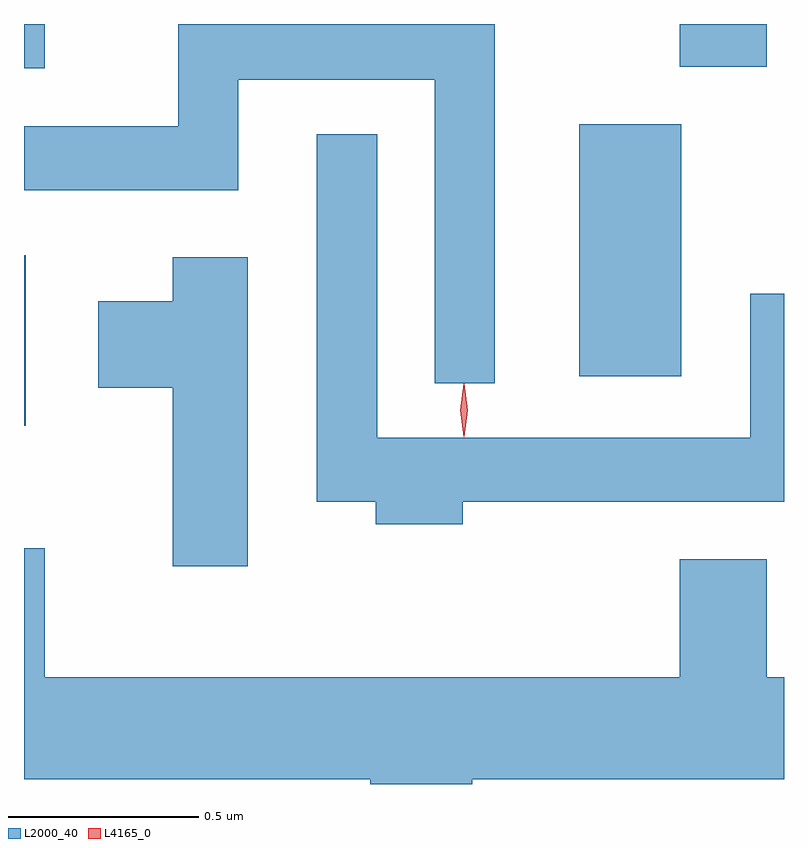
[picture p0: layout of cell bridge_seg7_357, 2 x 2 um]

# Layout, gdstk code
import gdstk
lib = gdstk.Library(unit=1e-6, precision=1e-09)
def R(c, l, rs):  # rectangles x0, y0, x1, y1
    for r in rs: c.add(gdstk.rectangle(r[:2], r[2:], *l))
def P(c, l, *ps):  # polygons
    for p in ps: c.add(gdstk.Polygon(p, *l))
L2000_40 = (2000, 40)
L4165_0 = (4165, 0)

bridge_seg7_357 = lib.new_cell('bridge_seg7_357')
R(bridge_seg7_357, L2000_40, [(1193.185,1775.186,1193.189,1775.634), (1194.646,1775.316,1194.914,1775.979), (1193.185,1776.126,1193.239,1776.243), (1194.911,1776.131,1195.139,1776.243)])
P(bridge_seg7_357, L2000_40, [(1194.424,1776.243),(1193.591,1776.243),(1193.591,1775.974),(1193.185,1775.974),(1193.185,1775.806),(1193.749,1775.806),(1193.749,1776.096),(1194.266,1776.096),(1194.266,1775.298),(1194.424,1775.298)],
  [(1194.339,1774.986),(1195.185,1774.986),(1195.185,1775.533),(1195.096,1775.533),(1195.096,1775.154),(1194.114,1775.154),(1194.114,1775.953),(1193.956,1775.953),(1193.956,1774.986),(1194.111,1774.986),(1194.111,1774.926),(1194.339,1774.926)],
  [(1193.774,1775.629),(1193.576,1775.629),(1193.576,1775.514),(1193.381,1775.514),(1193.381,1775.286),(1193.576,1775.286),(1193.576,1774.816),(1193.774,1774.816)],
  [(1195.185,1774.524),(1195.139,1774.524),(1195.139,1774.834),(1194.911,1774.834),(1194.911,1774.524),(1193.239,1774.524),(1193.239,1774.864),(1193.185,1774.864),(1193.185,1774.256),(1194.096,1774.256),(1194.096,1774.243),(1194.364,1774.243),(1194.364,1774.256),(1195.185,1774.256)])
P(bridge_seg7_357, L4165_0, [(1194.342,1775.157),(1194.333,1775.227),(1194.342,1775.296),(1194.343,1775.296),(1194.343,1775.296),(1194.353,1775.227),(1194.343,1775.157),(1194.343,1775.157)])

lib.write_gds('bridge_seg7_357.gds')
